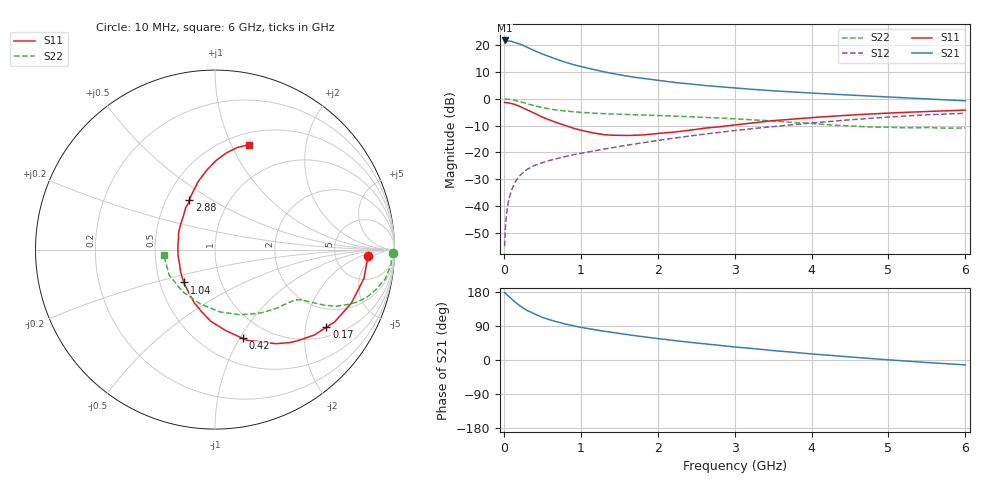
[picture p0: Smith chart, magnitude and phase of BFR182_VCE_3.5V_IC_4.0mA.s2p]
! Infineon Technologies  Discrete & RF Semiconductors
! BFR182
! VCE =  3.5 V,  IC =  4.0 mA
! Common Emitter S-Parameters:  Nov 2015
# GHz  S  MA  R  50
!  f  S11  S21  S12  S22
! GHz  MAG  ANG  MAG  ANG  MAG  ANG  MAG  ANG
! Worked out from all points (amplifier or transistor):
!   210 points, 10 MHz to 6 GHz, reference 50 ohm
!   highest |S21| = 21.7 dB at 10 MHz (marker M1)
!   |S21| within 3 dB of that: start of sweep to 337.3 MHz
!   unconditionally stable (mu >= 1): 1.178 GHz to 2.915 GHz
!   at 185 MHz: K = 0.29, MSG = 25.0 dB, |S12| = -29.4 dB
!   at 1.52 GHz: K = 1.06, MAG = 11.8 dB, |S12| = -17.7 dB
!   at 6 GHz: K = 0.88, MSG = 2.3 dB, |S12| = -5.4 dB
!   S11 on the Smith chart (normalised r, x): 10 MHz: 12, -3; 170 MHz: 1.29, -2.61; 420 MHz: 0.76, -1.03; 1.04 GHz: 0.66, -0.26; 2.88 GHz: 0.65, +0.40; 6 GHz: 0.62, +1.17
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0.01  0.8544 -2.3  12.16 178.1  0.0018 93.5  0.9943 -1.0
0.02  0.8499 -4.4  11.94 176.0  0.0038 92.9  0.9841 -2.0
0.04  0.8458 -8.7  11.91 172.3  0.0081 86.7  0.9838 -4.0
0.1  0.8165 -21.4  11.73 161.4  0.0198 78.5  0.9631 -9.7
0.15  0.7786 -31.2  11.03 152.1  0.0284 73.3  0.9259 -13.8
0.17  0.7567 -34.9  10.8 149.1  0.0315 71.6  0.9103 -15.2
0.2  0.7299 -40.7  10.52 144.3  0.0361 69.7  0.8879 -17.3
0.26  0.6646 -51.2  9.712 136.0  0.0433 65.5  0.837 -20.6
0.3  0.6251 -57.0  9.097 131.0  0.0481 63.9  0.8054 -22.3
0.42  0.5179 -72.7  7.643 119.8  0.0587 59.5  0.7297 -25.5
0.5  0.455 -82.5  6.813 112.3  0.0644 58.3  0.6844 -26.9
0.68  0.363 -100.1  5.47 101.2  0.0761 57.4  0.6187 -28.5
0.8  0.3178 -111.4  4.774 94.9  0.0839 57.2  0.591 -29.1
1.02  0.2559 -131.7  3.92 85.5  0.097 58.4  0.5555 -30.3
1.04  0.2519 -133.4  3.861 84.8  0.0983 58.5  0.553 -30.4
1.4  0.2098 -164.8  2.967 72.9  0.1217 59.8  0.5203 -33.3
2.02  0.2269 151.7  2.179 56.2  0.1689 59.9  0.4856 -40.2
2.88  0.31 117.4  1.642 37.0  0.2439 56.2  0.4323 -54.8
3.1  0.3375 112.1  1.546 32.7  0.2644 54.5  0.4152 -59.5
4.1  0.4559 94.4  1.253 14.5  0.3643 45.2  0.3372 -89.7
5.1  0.5493 82.2  1.062 -1.1  0.4649 33.0  0.2913 -132.0
6  0.6142 72.2  0.914 -12.9  0.5369 19.8  0.2869 -173.7
